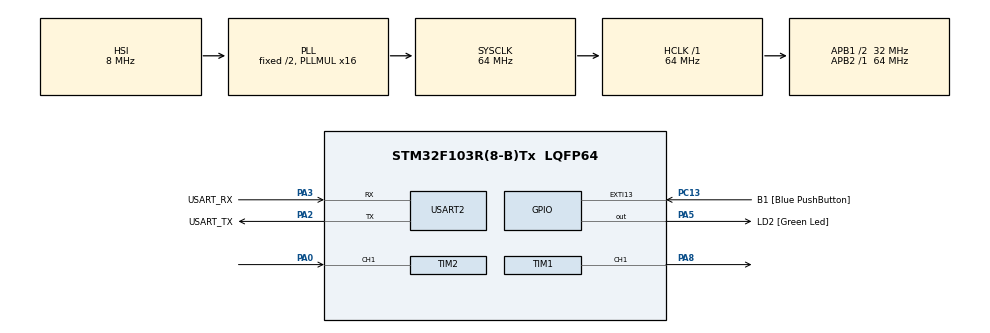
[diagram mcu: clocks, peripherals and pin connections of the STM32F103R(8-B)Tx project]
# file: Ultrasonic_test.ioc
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Mcu.Family=STM32F1
Mcu.Name=STM32F103R(8-B)Tx
Mcu.Package=LQFP64
NVIC.EXTI15_10_IRQn=true\:0\:0\:false\:false\:true\:true\:true\:true
NVIC.PriorityGroup=NVIC_PRIORITYGROUP_4
NVIC.TIM2_IRQn=true\:0\:0\:false\:false\:true\:true\:true\:true
PA0-WKUP.Signal=S_TIM2_CH1_ETR
PA13.GPIO_Label=TMS
PA13.Mode=Serial_Wire
PA13.Signal=SYS_JTMS-SWDIO
PA14.GPIO_Label=TCK
PA14.Mode=Serial_Wire
PA14.Signal=SYS_JTCK-SWCLK
PA2.GPIO_Label=USART_TX
PA2.GPIO_Mode=GPIO_MODE_AF_PP
PA2.GPIO_PuPd=GPIO_NOPULL
PA2.GPIO_Speed=GPIO_SPEED_FREQ_LOW
PA2.Mode=Asynchronous
PA2.Signal=USART2_TX
PA3.GPIO_Label=USART_RX
PA3.GPIO_Mode=GPIO_MODE_AF_PP
PA3.GPIO_PuPd=GPIO_NOPULL
PA3.GPIO_Speed=GPIO_SPEED_FREQ_LOW
PA3.Mode=Asynchronous
PA3.Signal=USART2_RX
PA5.GPIO_Label=LD2 [Green Led]
PA5.GPIO_ModeDefaultOutputPP=GPIO_MODE_OUTPUT_PP
PA5.GPIO_PuPd=GPIO_NOPULL
PA5.GPIO_Speed=GPIO_SPEED_FREQ_LOW
PA5.Signal=GPIO_Output
PA8.Signal=S_TIM1_CH1
PB3.GPIO_Label=SWO
PB3.Signal=SYS_JTDO-TRACESWO
PC13-TAMPER-RTC.GPIO_Label=B1 [Blue PushButton]
PC13-TAMPER-RTC.GPIO_PuPd=GPIO_NOPULL
PC13-TAMPER-RTC.Signal=GPXTI13
PC14-OSC32_IN.Mode=LSE-External-Oscillator
PC14-OSC32_IN.Signal=RCC_OSC32_IN
PC15-OSC32_OUT.Mode=LSE-External-Oscillator
PC15-OSC32_OUT.Signal=RCC_OSC32_OUT
PD0-OSC_IN.Mode=HSE-External-Clock-Source
PD0-OSC_IN.Signal=RCC_OSC_IN
PD1-OSC_OUT.Mode=HSE-External-Clock-Source
PD1-OSC_OUT.Signal=RCC_OSC_OUT
ProjectManager.HeapSize=0x200
ProjectManager.StackSize=0x400
ProjectManager.TargetToolchain=STM32CubeIDE
RCC.AHBFreq_Value=64000000
RCC.APB1CLKDivider=RCC_HCLK_DIV2
RCC.APB1Freq_Value=32000000
RCC.APB1TimFreq_Value=64000000
RCC.APB2Freq_Value=64000000
RCC.APB2TimFreq_Value=64000000
RCC.HCLKFreq_Value=64000000
RCC.PLLMUL=RCC_PLL_MUL16
RCC.RTCClockSelection=RCC_RTCCLKSOURCE_LSE
RCC.SYSCLKFreq_VALUE=64000000
RCC.SYSCLKSource=RCC_SYSCLKSOURCE_PLLCLK
RCC.USBFreq_Value=64000000
SH.S_TIM1_CH1.0=TIM1_CH1,PWM Generation1 CH1
SH.S_TIM2_CH1_ETR.0=TIM2_CH1,Input_Capture1_from_TI1
TIM1.Channel-PWM\ Generation1\ CH1=TIM_CHANNEL_1
TIM1.Period=1000-1
TIM1.Prescaler=64-1
TIM1.Pulse-PWM\ Generation1\ CH1=500-1
TIM2.Channel-Input_Capture1_from_TI1=TIM_CHANNEL_1
TIM2.ICPolarity_CH1=TIM_INPUTCHANNELPOLARITY_RISING
TIM2.Period=65535
TIM2.Prescaler=64-1
USART2.VirtualMode=VM_ASYNC
VP_TIM1_VS_ClockSourceINT.Mode=Internal
VP_TIM2_VS_ClockSourceINT.Mode=Internal
board=NUCLEO-F103RB

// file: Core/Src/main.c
/* USER CODE BEGIN Header */
/**
  ******************************************************************************
  * @file           : main.c
  * @brief          : Main program body
  ******************************************************************************
  * @attention
  *
  * Copyright (c) 2022 STMicroelectronics.
  * All rights reserved.
  *
  * This software is licensed under terms that can be found in the LICENSE file
  * in the root directory of this software component.
  * If no LICENSE file comes with this software, it is provided AS-IS.
  *
  ******************************************************************************
  */
/* USER CODE END Header */
#include "main.h"

/* USER CODE BEGIN Includes */
#include "stdio.h"
/* USER CODE END Includes */

 TIM_HandleTypeDef htim1;
TIM_HandleTypeDef htim2;

UART_HandleTypeDef huart2;

/* USER CODE BEGIN PV */
uint32_t IC1, IC2;
int captureFlag=0;
float frequency=0;
/* USER CODE END PV */

void SystemClock_Config(void);
static void MX_GPIO_Init(void);
static void MX_USART2_UART_Init(void);
static void MX_TIM2_Init(void);
static void MX_TIM1_Init(void);
/* USER CODE BEGIN PFP */
#ifdef __GNUC__
/* With GCC, small printf (option LD Linker->Libraries->Small printf
   set to 'Yes') calls __io_putchar() */
#define PUTCHAR_PROTOTYPE int __io_putchar(int ch)
#else
#define PUTCHAR_PROTOTYPE int fputc(int ch, FILE *f)
#endif /* __GNUC__ */

PUTCHAR_PROTOTYPE
{
  /* Place your implementation of fputc here */
  /* e.g. write a character to the USART1 and Loop until the end of transmission */
  HAL_UART_Transmit(&huart2, (uint8_t *)&ch, 1, 0xFFFF);

  return ch;
}
/* USER CODE END PFP */

int main(void)
{

  /* MCU Configuration--------------------------------------------------------*/

  /* Reset of all peripherals, Initializes the Flash interface and the Systick. */
  HAL_Init();

  /* Configure the system clock */
  SystemClock_Config();

  /* Initialize all configured peripherals */
  MX_GPIO_Init();
  MX_USART2_UART_Init();
  MX_TIM2_Init();
  MX_TIM1_Init();
  /* USER CODE BEGIN 2 */
  HAL_TIM_PWM_Start(&htim1, TIM_CHANNEL_1);
  HAL_TIM_IC_Start_IT(&htim2, TIM_CHANNEL_1);
  /* USER CODE END 2 */

  /* Infinite loop */
  while (1)
  {

  }
}

void SystemClock_Config(void)
{
  RCC_OscInitTypeDef RCC_OscInitStruct = {0};
  RCC_ClkInitTypeDef RCC_ClkInitStruct = {0};

  /** Initializes the RCC Oscillators according to the specified parameters
  * in the RCC_OscInitTypeDef structure.
  */
  RCC_OscInitStruct.OscillatorType = RCC_OSCILLATORTYPE_HSI;
  RCC_OscInitStruct.HSIState = RCC_HSI_ON;
  RCC_OscInitStruct.HSICalibrationValue = RCC_HSICALIBRATION_DEFAULT;
  RCC_OscInitStruct.PLL.PLLState = RCC_PLL_ON;
  RCC_OscInitStruct.PLL.PLLSource = RCC_PLLSOURCE_HSI_DIV2;
  RCC_OscInitStruct.PLL.PLLMUL = RCC_PLL_MUL16;
  if (HAL_RCC_OscConfig(&RCC_OscInitStruct) != HAL_OK)
  {
    Error_Handler();
  }

  /** Initializes the CPU, AHB and APB buses clocks
  */
  RCC_ClkInitStruct.ClockType = RCC_CLOCKTYPE_HCLK|RCC_CLOCKTYPE_SYSCLK
                              |RCC_CLOCKTYPE_PCLK1|RCC_CLOCKTYPE_PCLK2;
  RCC_ClkInitStruct.SYSCLKSource = RCC_SYSCLKSOURCE_PLLCLK;
  RCC_ClkInitStruct.AHBCLKDivider = RCC_SYSCLK_DIV1;
  RCC_ClkInitStruct.APB1CLKDivider = RCC_HCLK_DIV2;
  RCC_ClkInitStruct.APB2CLKDivider = RCC_HCLK_DIV1;

  if (HAL_RCC_ClockConfig(&RCC_ClkInitStruct, FLASH_LATENCY_2) != HAL_OK)
  {
    Error_Handler();
  }
}

static void MX_TIM1_Init(void)
{

  TIM_ClockConfigTypeDef sClockSourceConfig = {0};
  TIM_MasterConfigTypeDef sMasterConfig = {0};
  TIM_OC_InitTypeDef sConfigOC = {0};
  TIM_BreakDeadTimeConfigTypeDef sBreakDeadTimeConfig = {0};

  htim1.Instance = TIM1;
  htim1.Init.Prescaler = 64-1;
  htim1.Init.CounterMode = TIM_COUNTERMODE_UP;
  htim1.Init.Period = 1000-1;
  htim1.Init.ClockDivision = TIM_CLOCKDIVISION_DIV1;
  htim1.Init.RepetitionCounter = 0;
  htim1.Init.AutoReloadPreload = TIM_AUTORELOAD_PRELOAD_DISABLE;
  if (HAL_TIM_Base_Init(&htim1) != HAL_OK)
  {
    Error_Handler();
  }
  sClockSourceConfig.ClockSource = TIM_CLOCKSOURCE_INTERNAL;
  if (HAL_TIM_ConfigClockSource(&htim1, &sClockSourceConfig) != HAL_OK)
  {
    Error_Handler();
  }
  if (HAL_TIM_PWM_Init(&htim1) != HAL_OK)
  {
    Error_Handler();
  }
  sMasterConfig.MasterOutputTrigger = TIM_TRGO_RESET;
  sMasterConfig.MasterSlaveMode = TIM_MASTERSLAVEMODE_DISABLE;
  if (HAL_TIMEx_MasterConfigSynchronization(&htim1, &sMasterConfig) != HAL_OK)
  {
    Error_Handler();
  }
  sConfigOC.OCMode = TIM_OCMODE_PWM1;
  sConfigOC.Pulse = 500-1;
  sConfigOC.OCPolarity = TIM_OCPOLARITY_HIGH;
  sConfigOC.OCNPolarity = TIM_OCNPOLARITY_HIGH;
  sConfigOC.OCFastMode = TIM_OCFAST_DISABLE;
  sConfigOC.OCIdleState = TIM_OCIDLESTATE_RESET;
  sConfigOC.OCNIdleState = TIM_OCNIDLESTATE_RESET;
  if (HAL_TIM_PWM_ConfigChannel(&htim1, &sConfigOC, TIM_CHANNEL_1) != HAL_OK)
  {
    Error_Handler();
  }
  sBreakDeadTimeConfig.OffStateRunMode = TIM_OSSR_DISABLE;
  sBreakDeadTimeConfig.OffStateIDLEMode = TIM_OSSI_DISABLE;
  sBreakDeadTimeConfig.LockLevel = TIM_LOCKLEVEL_OFF;
  sBreakDeadTimeConfig.DeadTime = 0;
  sBreakDeadTimeConfig.BreakState = TIM_BREAK_DISABLE;
  sBreakDeadTimeConfig.BreakPolarity = TIM_BREAKPOLARITY_HIGH;
  sBreakDeadTimeConfig.AutomaticOutput = TIM_AUTOMATICOUTPUT_DISABLE;
  if (HAL_TIMEx_ConfigBreakDeadTime(&htim1, &sBreakDeadTimeConfig) != HAL_OK)
  {
    Error_Handler();
  }
  HAL_TIM_MspPostInit(&htim1);

}

static void MX_TIM2_Init(void)
{

  TIM_ClockConfigTypeDef sClockSourceConfig = {0};
  TIM_MasterConfigTypeDef sMasterConfig = {0};
  TIM_IC_InitTypeDef sConfigIC = {0};

  htim2.Instance = TIM2;
  htim2.Init.Prescaler = 64-1;
  htim2.Init.CounterMode = TIM_COUNTERMODE_UP;
  htim2.Init.Period = 65535;
  htim2.Init.ClockDivision = TIM_CLOCKDIVISION_DIV1;
  htim2.Init.AutoReloadPreload = TIM_AUTORELOAD_PRELOAD_DISABLE;
  if (HAL_TIM_Base_Init(&htim2) != HAL_OK)
  {
    Error_Handler();
  }
  sClockSourceConfig.ClockSource = TIM_CLOCKSOURCE_INTERNAL;
  if (HAL_TIM_ConfigClockSource(&htim2, &sClockSourceConfig) != HAL_OK)
  {
    Error_Handler();
  }
  if (HAL_TIM_IC_Init(&htim2) != HAL_OK)
  {
    Error_Handler();
  }
  sMasterConfig.MasterOutputTrigger = TIM_TRGO_RESET;
  sMasterConfig.MasterSlaveMode = TIM_MASTERSLAVEMODE_DISABLE;
  if (HAL_TIMEx_MasterConfigSynchronization(&htim2, &sMasterConfig) != HAL_OK)
  {
    Error_Handler();
  }
  sConfigIC.ICPolarity = TIM_INPUTCHANNELPOLARITY_RISING;
  sConfigIC.ICSelection = TIM_ICSELECTION_DIRECTTI;
  sConfigIC.ICPrescaler = TIM_ICPSC_DIV1;
  sConfigIC.ICFilter = 0;
  if (HAL_TIM_IC_ConfigChannel(&htim2, &sConfigIC, TIM_CHANNEL_1) != HAL_OK)
  {
    Error_Handler();
  }

}

static void MX_USART2_UART_Init(void)
{

  huart2.Instance = USART2;
  huart2.Init.BaudRate = 115200;
  huart2.Init.WordLength = UART_WORDLENGTH_8B;
  huart2.Init.StopBits = UART_STOPBITS_1;
  huart2.Init.Parity = UART_PARITY_NONE;
  huart2.Init.Mode = UART_MODE_TX_RX;
  huart2.Init.HwFlowCtl = UART_HWCONTROL_NONE;
  huart2.Init.OverSampling = UART_OVERSAMPLING_16;
  if (HAL_UART_Init(&huart2) != HAL_OK)
  {
    Error_Handler();
  }

}

static void MX_GPIO_Init(void)
{
  GPIO_InitTypeDef GPIO_InitStruct = {0};

  /* GPIO Ports Clock Enable */
  __HAL_RCC_GPIOC_CLK_ENABLE();
  __HAL_RCC_GPIOD_CLK_ENABLE();
  __HAL_RCC_GPIOA_CLK_ENABLE();
  __HAL_RCC_GPIOB_CLK_ENABLE();

  /*Configure GPIO pin Output Level */
  HAL_GPIO_WritePin(LD2_GPIO_Port, LD2_Pin, GPIO_PIN_RESET);

  /*Configure GPIO pin : B1_Pin */
  GPIO_InitStruct.Pin = B1_Pin;
  GPIO_InitStruct.Mode = GPIO_MODE_IT_RISING;
  GPIO_InitStruct.Pull = GPIO_NOPULL;
  HAL_GPIO_Init(B1_GPIO_Port, &GPIO_InitStruct);

  /*Configure GPIO pin : LD2_Pin */
  GPIO_InitStruct.Pin = LD2_Pin;
  GPIO_InitStruct.Mode = GPIO_MODE_OUTPUT_PP;
  GPIO_InitStruct.Pull = GPIO_NOPULL;
  GPIO_InitStruct.Speed = GPIO_SPEED_FREQ_LOW;
  HAL_GPIO_Init(LD2_GPIO_Port, &GPIO_InitStruct);

  /* EXTI interrupt init*/
  HAL_NVIC_SetPriority(EXTI15_10_IRQn, 0, 0);
  HAL_NVIC_EnableIRQ(EXTI15_10_IRQn);

}

/* USER CODE BEGIN 4 */

void HAL_TIM_IC_CaptureCallback(TIM_HandleTypeDef *htim){ // will be operated when RISING edge
#define psr 64
#define clk 64000000
	if(htim->Channel == HAL_TIM_ACTIVE_CHANNEL_1)
	{
		if(captureFlag == 0)
		{
//			IC1 = HAL_TIM_ReadCapturedValue(&htim2, TIM_CHANNEL_1);
			IC1 = TIM2->CCR1;
			captureFlag = 1;
//			__HAL_TIM_SET_CAPTUREPOLARITY(&htim2, TIM_CHANNEL_1, TIM_INPUTCHANNEL);
		}
		else if(captureFlag == 1)
		{
//			IC2 = HAL_TIM_ReadCapturedValue(&htim2, TIM_CHANNEL_1);
			IC2 = TIM2->CCR1;
			frequency = (IC2 - IC1); // 0.000001 = psr/clk
//			frequency = IC2 - IC1;
												  // psr = 64, clk = 64000000
			__HAL_TIM_SET_COUNTER(&htim2, 0);

			captureFlag = 0;
			  printf("%f\n\r", frequency);

		}
	}
}
/* USER CODE END 4 */

void Error_Handler(void)
{
  __disable_irq();
  while (1)
  {
  }
}
